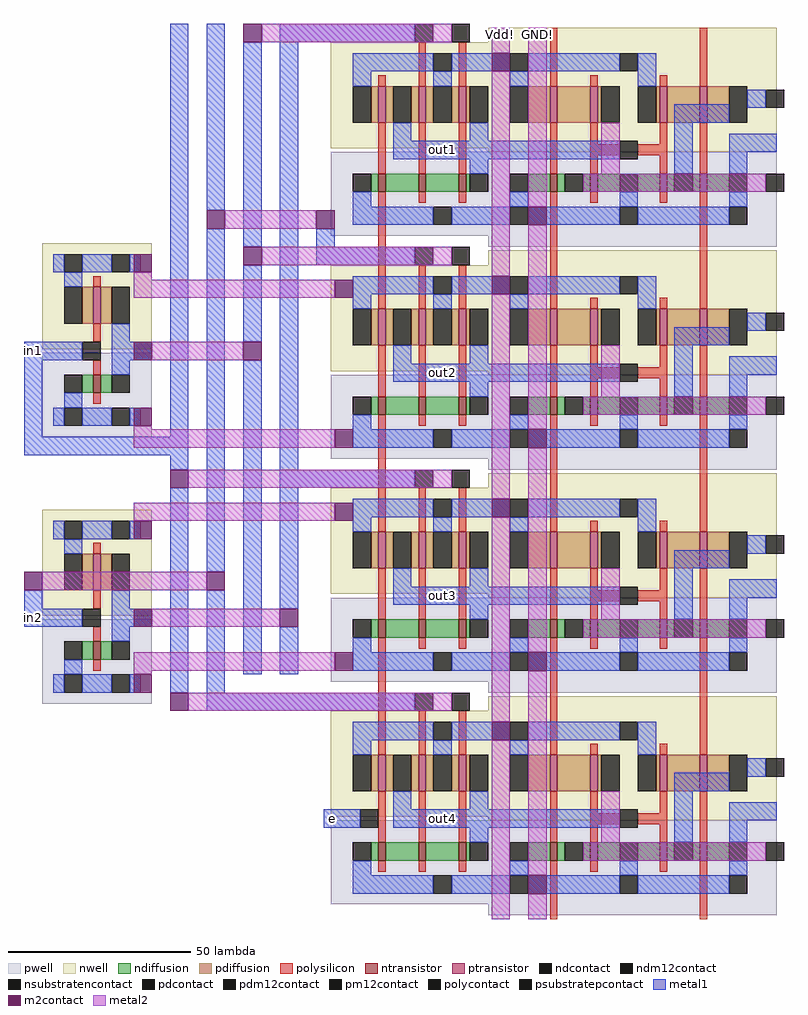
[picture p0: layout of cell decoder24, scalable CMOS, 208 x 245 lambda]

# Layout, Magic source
magic
tech scmos
<< polysilicon >>
rect 182 26 184 35
rect 193 26 195 35
rect 171 -35 173 -9
rect 182 -35 184 -26
rect 193 -35 195 -26
rect 171 -96 173 -70
rect 182 -96 184 -87
rect 193 -96 195 -87
rect 171 -157 173 -131
rect 182 -157 184 -148
rect 193 -157 195 -148
<< polycontact >>
rect 181 35 186 40
rect 181 -26 186 -21
rect 181 -87 186 -82
rect 181 -148 186 -143
rect 166 -180 171 -175
<< metal1 >>
rect 74 -73 79 -47
rect 114 -73 119 40
rect 74 -78 119 -73
rect 114 -82 119 -78
rect 74 -125 79 -115
rect 114 -143 119 -87
rect 124 -11 129 40
rect 124 -110 129 -16
rect 124 -143 129 -115
rect 134 -21 139 35
rect 134 -47 139 -26
rect 134 -138 139 -52
rect 144 35 181 40
rect 144 -82 149 35
rect 186 3 191 8
rect 154 -21 159 -16
rect 154 -26 181 -21
rect 186 -58 191 -53
rect 144 -87 181 -82
rect 144 -120 149 -87
rect 186 -119 191 -114
rect 144 -138 149 -125
rect 124 -148 181 -143
rect 156 -180 166 -175
rect 186 -180 191 -175
<< m2contact >>
rect 104 -28 109 -23
rect 104 -52 109 -47
rect 104 -70 109 -65
rect 114 -87 119 -82
rect 104 -101 109 -96
rect 74 -115 79 -110
rect 104 -125 109 -120
rect 104 -143 109 -138
rect 114 -148 119 -143
rect 124 -16 129 -11
rect 124 -115 129 -110
rect 134 35 139 40
rect 134 -26 139 -21
rect 134 -52 139 -47
rect 202 27 207 32
rect 154 -16 159 -11
rect 212 -15 217 -10
rect 159 -35 164 -30
rect 202 -34 207 -29
rect 159 -76 164 -71
rect 212 -76 217 -71
rect 159 -96 164 -91
rect 202 -95 207 -90
rect 144 -125 149 -120
rect 159 -137 164 -132
rect 212 -137 217 -132
rect 202 -156 207 -151
rect 212 -198 217 -193
<< pm12contact >>
rect 191 35 196 40
rect 191 -26 196 -21
rect 191 -87 196 -82
rect 191 -148 196 -143
<< metal2 >>
rect 139 35 191 40
rect 202 32 207 39
rect 129 -16 154 -11
rect 139 -26 191 -21
rect 104 -30 109 -28
rect 202 -29 207 27
rect 104 -35 159 -30
rect 109 -52 134 -47
rect 104 -71 109 -70
rect 104 -76 159 -71
rect 119 -87 191 -82
rect 202 -90 207 -34
rect 104 -96 159 -91
rect 79 -115 124 -110
rect 109 -125 144 -120
rect 104 -137 159 -132
rect 104 -138 109 -137
rect 119 -148 191 -143
rect 202 -151 207 -95
rect 202 -205 207 -156
rect 212 -10 217 39
rect 212 -71 217 -15
rect 212 -132 217 -76
rect 212 -193 217 -137
rect 212 -205 217 -198
use 3nand2  3nand2_3
transform 1 0 167 0 1 -130
box -9 -71 40 -18
use 3nand2  3nand2_2
transform 1 0 167 0 1 -69
box -9 -71 40 -18
use inv2  inv2_1
transform 1 0 89 0 1 -133
box -10 -13 20 40
use decoder_nor2  decoder_nor2_2
transform 1 0 133 0 1 -229
box 68 24 149 85
use decoder_nor2  decoder_nor2_3
transform 1 0 133 0 1 -168
box 68 24 149 85
use 3nand2  3nand2_1
transform 1 0 167 0 1 -8
box -9 -71 40 -18
use inv2  inv2_0
transform 1 0 89 0 1 -60
box -10 -13 20 40
use decoder_nor2  decoder_nor2_1
transform 1 0 133 0 1 -107
box 68 24 149 85
use 3nand2  3nand2_0
transform 1 0 167 0 1 53
box -9 -71 40 -18
use decoder_nor2  decoder_nor2_0
transform 1 0 133 0 1 -46
box 68 24 149 85
<< labels >>
rlabel metal2 202 35 207 39 5 Vdd!
rlabel metal2 212 35 217 39 5 GND!
rlabel metal1 186 3 191 8 1 out1
rlabel metal1 186 -58 191 -53 1 out2
rlabel metal1 186 -119 191 -114 1 out3
rlabel metal1 186 -180 191 -175 1 out4
rlabel metal1 74 -52 79 -47 3 in1
rlabel metal1 74 -125 79 -120 3 in2
rlabel metal1 156 -180 161 -175 1 e
<< end >>

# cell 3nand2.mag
magic
tech scmos
<< nwell >>
rect -9 -47 40 -18
<< pwell >>
rect -9 -71 40 -48
<< ntransistor >>
rect 4 -59 6 -54
rect 15 -59 17 -54
rect 26 -59 28 -54
<< ptransistor >>
rect 4 -40 6 -30
rect 15 -40 17 -30
rect 26 -40 28 -30
<< ndiffusion >>
rect 2 -59 4 -54
rect 6 -59 15 -54
rect 17 -59 26 -54
rect 28 -59 29 -54
<< pdiffusion >>
rect 2 -40 4 -30
rect 6 -40 8 -30
rect 13 -40 15 -30
rect 17 -40 19 -30
rect 24 -40 26 -30
rect 28 -40 29 -30
<< ndcontact >>
rect -3 -59 2 -54
rect 29 -59 34 -54
<< pdcontact >>
rect -3 -40 2 -30
rect 8 -40 13 -30
rect 19 -40 24 -30
rect 29 -40 34 -30
<< psubstratepcontact >>
rect 19 -68 24 -63
<< nsubstratencontact >>
rect 19 -26 24 -21
<< polysilicon >>
rect 4 -30 6 -27
rect 15 -30 17 -27
rect 26 -30 28 -27
rect 4 -54 6 -40
rect 15 -54 17 -40
rect 26 -54 28 -40
rect 4 -62 6 -59
rect 15 -62 17 -59
rect 26 -62 28 -59
<< metal1 >>
rect -3 -26 19 -21
rect 24 -26 40 -21
rect -3 -30 2 -26
rect 19 -30 24 -26
rect 8 -45 13 -40
rect 29 -45 34 -40
rect 8 -50 40 -45
rect 29 -54 34 -50
rect -3 -63 2 -59
rect -3 -68 19 -63
rect 24 -68 40 -63
<< labels >>
rlabel polysilicon 4 -29 6 -27 1 a
rlabel metal1 35 -68 40 -63 7 GND!
rlabel metal1 35 -26 40 -21 7 Vdd!
rlabel metal1 35 -50 40 -45 7 out
rlabel polysilicon 26 -29 28 -27 1 c
rlabel polysilicon 15 -29 17 -27 1 b
<< end >>

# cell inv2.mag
magic
tech scmos
<< nwell >>
rect -10 11 20 40
<< pwell >>
rect -10 -13 20 10
<< ntransistor >>
rect 4 -1 6 4
<< ptransistor >>
rect 4 18 6 28
<< ndiffusion >>
rect 1 -1 4 4
rect 6 -1 9 4
<< pdiffusion >>
rect 1 18 4 28
rect 6 18 9 28
<< ndcontact >>
rect -4 -1 1 4
rect 9 -1 14 4
<< pdcontact >>
rect -4 18 1 28
rect 9 18 14 28
<< psubstratepcontact >>
rect -4 -10 1 -5
rect 9 -10 14 -5
<< nsubstratencontact >>
rect -4 32 1 37
rect 9 32 14 37
<< polysilicon >>
rect 4 28 6 31
rect 4 13 6 18
rect 4 4 6 8
rect 4 -4 6 -1
<< polycontact >>
rect 1 8 6 13
<< metal1 >>
rect -7 32 -4 37
rect 1 32 9 37
rect 14 32 17 37
rect -4 28 1 32
rect 9 13 14 18
rect -10 8 1 13
rect 9 8 20 13
rect 9 4 14 8
rect -4 -5 1 -1
rect -7 -10 -4 -5
rect 1 -10 9 -5
rect 14 -10 17 -5
<< labels >>
rlabel metal1 -5 -7 -5 -7 3 GND!
rlabel metal1 -5 34 -5 34 3 Vdd!
<< end >>

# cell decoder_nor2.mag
magic
tech scmos
<< nwell >>
rect 68 51 147 85
<< pwell >>
rect 68 25 147 51
<< ntransistor >>
rect 85 40 87 45
rect 96 40 98 45
rect 115 40 117 45
rect 126 40 128 45
<< ptransistor >>
rect 85 59 87 69
rect 96 59 98 69
rect 115 59 117 69
rect 126 59 128 69
<< ndiffusion >>
rect 79 40 85 45
rect 87 40 89 45
rect 94 40 96 45
rect 98 40 104 45
rect 109 40 115 45
rect 117 40 119 45
rect 124 40 126 45
rect 128 40 134 45
<< pdiffusion >>
rect 79 59 85 69
rect 87 59 96 69
rect 98 59 99 69
rect 114 59 115 69
rect 117 59 126 69
rect 128 59 134 69
<< ndcontact >>
rect 74 40 79 45
rect 104 40 109 45
rect 119 40 124 45
rect 134 40 139 45
<< pdcontact >>
rect 74 59 79 69
rect 109 59 114 69
rect 134 59 139 69
<< psubstratepcontact >>
rect 74 31 79 36
rect 104 31 109 36
rect 134 31 139 36
<< nsubstratencontact >>
rect 74 73 79 78
rect 104 73 109 78
<< polysilicon >>
rect 85 69 87 85
rect 96 69 98 72
rect 115 69 117 72
rect 126 69 128 85
rect 85 45 87 59
rect 96 53 98 59
rect 96 50 104 53
rect 96 45 98 50
rect 115 53 117 59
rect 109 50 117 53
rect 115 45 117 50
rect 126 45 128 59
rect 85 24 87 40
rect 96 37 98 40
rect 115 37 117 40
rect 126 24 128 40
<< polycontact >>
rect 144 63 149 68
rect 104 49 109 54
<< metal1 >>
rect 68 73 74 78
rect 79 73 104 78
rect 74 69 79 73
rect 109 69 114 78
rect 119 59 134 64
rect 139 63 144 68
rect 68 49 104 54
rect 119 45 124 59
rect 134 51 147 56
rect 134 45 139 51
rect 74 36 79 40
rect 104 36 109 40
rect 134 36 139 40
rect 68 31 74 36
rect 79 31 104 36
rect 109 31 134 36
<< pm12contact >>
rect 144 40 149 45
<< pdm12contact >>
rect 99 59 104 69
<< ndm12contact >>
rect 89 40 94 45
<< metal2 >>
rect 99 45 104 59
rect 94 40 144 45
<< labels >>
rlabel polysilicon 85 83 87 85 5 phi0
rlabel polysilicon 126 83 128 85 5 phi1
rlabel metal1 68 73 72 78 3 Vdd!
rlabel metal1 68 31 72 36 3 GND!
rlabel metal1 68 49 73 54 3 in
rlabel polycontact 144 63 149 68 7 out1
rlabel pm12contact 144 40 149 45 7 out2
<< end >>
